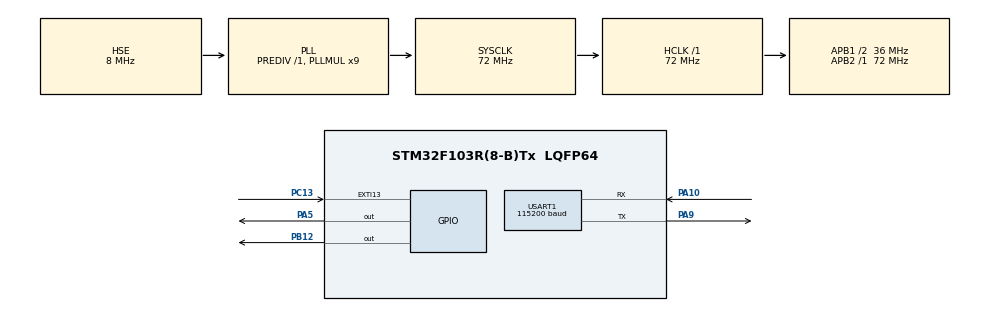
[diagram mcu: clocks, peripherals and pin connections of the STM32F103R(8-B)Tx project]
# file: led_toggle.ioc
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Dma.Request0=USART1_RX
Dma.USART1_RX.0.Direction=DMA_PERIPH_TO_MEMORY
Dma.USART1_RX.0.Instance=DMA1_Channel5
Dma.USART1_RX.0.MemDataAlignment=DMA_MDATAALIGN_BYTE
Dma.USART1_RX.0.MemInc=DMA_MINC_ENABLE
Dma.USART1_RX.0.Mode=DMA_CIRCULAR
Dma.USART1_RX.0.PeriphDataAlignment=DMA_PDATAALIGN_BYTE
Dma.USART1_RX.0.PeriphInc=DMA_PINC_DISABLE
Dma.USART1_RX.0.Priority=DMA_PRIORITY_LOW
FREERTOS.Mutexes01=mutex_counter,Dynamic,NULL
FREERTOS.Queues01=myQueue01,4,uint8_t,0,Dynamic,NULL,NULL
FREERTOS.Tasks01=led1,24,128,StartDefaultTask,Default,NULL,Dynamic,NULL,NULL;led2,24,128,StartTask02,Default,NULL,Dynamic,NULL,NULL
FREERTOS.configUSE_NEWLIB_REENTRANT=1
Mcu.Family=STM32F1
Mcu.Name=STM32F103R(8-B)Tx
Mcu.Package=LQFP64
NVIC.DMA1_Channel5_IRQn=true\:5\:0\:false\:false\:true\:true\:false\:true\:true
NVIC.EXTI15_10_IRQn=true\:5\:0\:false\:false\:true\:true\:true\:true\:true
NVIC.PriorityGroup=NVIC_PRIORITYGROUP_4
NVIC.TIM4_IRQn=true\:15\:0\:false\:false\:true\:false\:false\:true\:true
NVIC.TimeBase=TIM4_IRQn
NVIC.TimeBaseIP=TIM4
PA10.Mode=Asynchronous
PA10.Signal=USART1_RX
PA13.Mode=Serial_Wire
PA13.Signal=SYS_JTMS-SWDIO
PA14.Mode=Serial_Wire
PA14.Signal=SYS_JTCK-SWCLK
PA5.PinState=GPIO_PIN_SET
PA5.Signal=GPIO_Output
PA9.Mode=Asynchronous
PA9.Signal=USART1_TX
PB12.PinState=GPIO_PIN_SET
PB12.Signal=GPIO_Output
PC13-TAMPER-RTC.GPIO_ModeDefaultEXTI=GPIO_MODE_IT_FALLING
PC13-TAMPER-RTC.Signal=GPXTI13
PD0-OSC_IN.Mode=HSE-External-Oscillator
PD0-OSC_IN.Signal=RCC_OSC_IN
PD1-OSC_OUT.Mode=HSE-External-Oscillator
PD1-OSC_OUT.Signal=RCC_OSC_OUT
ProjectManager.HeapSize=0x200
ProjectManager.StackSize=0x400
ProjectManager.TargetToolchain=STM32CubeIDE
RCC.AHBFreq_Value=72000000
RCC.APB1CLKDivider=RCC_HCLK_DIV2
RCC.APB1Freq_Value=36000000
RCC.APB1TimFreq_Value=72000000
RCC.APB2Freq_Value=72000000
RCC.APB2TimFreq_Value=72000000
RCC.HCLKFreq_Value=72000000
RCC.PLLMUL=RCC_PLL_MUL9
RCC.PLLSourceVirtual=RCC_PLLSOURCE_HSE
RCC.SYSCLKFreq_VALUE=72000000
RCC.SYSCLKSource=RCC_SYSCLKSOURCE_PLLCLK
RCC.USBFreq_Value=72000000
USART1.BaudRate=115200
USART1.VirtualMode=VM_ASYNC
VP_FREERTOS_VS_CMSIS_V2.Mode=CMSIS_V2
VP_SYS_VS_tim4.Mode=TIM4
board=custom

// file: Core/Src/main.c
/* USER CODE BEGIN Header */
/**
  ******************************************************************************
  * @file           : main.c
  * @brief          : Main program body
  ******************************************************************************
  * @attention
  *
  * Copyright (c) 2024 STMicroelectronics.
  * All rights reserved.
  *
  * This software is licensed under terms that can be found in the LICENSE file
  * in the root directory of this software component.
  * If no LICENSE file comes with this software, it is provided AS-IS.
  *
  ******************************************************************************
  */
/* USER CODE END Header */
#include "main.h"
#include "cmsis_os.h"
#include "dma.h"
#include "usart.h"
#include "gpio.h"

/* USER CODE BEGIN PV */
bool uart_flag=false;
/* USER CODE END PV */

void SystemClock_Config(void);
void MX_FREERTOS_Init(void);

int main(void)
{

  /* MCU Configuration--------------------------------------------------------*/

  /* Reset of all peripherals, Initializes the Flash interface and the Systick. */
  HAL_Init();

  /* Configure the system clock */
  SystemClock_Config();

  /* Initialize all configured peripherals */
  MX_GPIO_Init();
  MX_DMA_Init();
  MX_USART1_UART_Init();

  /* Init scheduler */
  osKernelInitialize();

  /* Call init function for freertos objects (in freertos.c) */
  MX_FREERTOS_Init();

  /* Start scheduler */
  osKernelStart();

  /* We should never get here as control is now taken by the scheduler */
  /* Infinite loop */
  while (1)
  {

  }
}

void SystemClock_Config(void)
{
  RCC_OscInitTypeDef RCC_OscInitStruct = {0};
  RCC_ClkInitTypeDef RCC_ClkInitStruct = {0};

  /** Initializes the RCC Oscillators according to the specified parameters
  * in the RCC_OscInitTypeDef structure.
  */
  RCC_OscInitStruct.OscillatorType = RCC_OSCILLATORTYPE_HSE;
  RCC_OscInitStruct.HSEState = RCC_HSE_ON;
  RCC_OscInitStruct.HSEPredivValue = RCC_HSE_PREDIV_DIV1;
  RCC_OscInitStruct.HSIState = RCC_HSI_ON;
  RCC_OscInitStruct.PLL.PLLState = RCC_PLL_ON;
  RCC_OscInitStruct.PLL.PLLSource = RCC_PLLSOURCE_HSE;
  RCC_OscInitStruct.PLL.PLLMUL = RCC_PLL_MUL9;
  if (HAL_RCC_OscConfig(&RCC_OscInitStruct) != HAL_OK)
  {
    Error_Handler();
  }

  /** Initializes the CPU, AHB and APB buses clocks
  */
  RCC_ClkInitStruct.ClockType = RCC_CLOCKTYPE_HCLK|RCC_CLOCKTYPE_SYSCLK
                              |RCC_CLOCKTYPE_PCLK1|RCC_CLOCKTYPE_PCLK2;
  RCC_ClkInitStruct.SYSCLKSource = RCC_SYSCLKSOURCE_PLLCLK;
  RCC_ClkInitStruct.AHBCLKDivider = RCC_SYSCLK_DIV1;
  RCC_ClkInitStruct.APB1CLKDivider = RCC_HCLK_DIV2;
  RCC_ClkInitStruct.APB2CLKDivider = RCC_HCLK_DIV1;

  if (HAL_RCC_ClockConfig(&RCC_ClkInitStruct, FLASH_LATENCY_2) != HAL_OK)
  {
    Error_Handler();
  }
}

void HAL_TIM_PeriodElapsedCallback(TIM_HandleTypeDef *htim)
{
  if (htim->Instance == TIM4) {
    HAL_IncTick();
  }
}

void Error_Handler(void)
{
  __disable_irq();
  while (1)
  {
  }
}

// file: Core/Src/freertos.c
/* USER CODE BEGIN Header */
/**
  ******************************************************************************
  * File Name          : freertos.c
  * Description        : Code for freertos applications
  ******************************************************************************
  * @attention
  *
  * Copyright (c) 2024 STMicroelectronics.
  * All rights reserved.
  *
  * This software is licensed under terms that can be found in the LICENSE file
  * in the root directory of this software component.
  * If no LICENSE file comes with this software, it is provided AS-IS.
  *
  ******************************************************************************
  */
/* USER CODE END Header */

#include "FreeRTOS.h"
#include "task.h"
#include "main.h"
#include "cmsis_os.h"

/* USER CODE BEGIN Variables */
extern bool uart_flag;
extern UART_HandleTypeDef huart1;
bool send_queue=false;
uint16_t count=0;
bool begin=false;
/* USER CODE END Variables */
/* Definitions for led1 */
osThreadId_t led1Handle;
const osThreadAttr_t led1_attributes = {
  .name = "led1",
  .stack_size = 128 * 4,
  .priority = (osPriority_t) osPriorityNormal,
};
/* Definitions for led2 */
osThreadId_t led2Handle;
const osThreadAttr_t led2_attributes = {
  .name = "led2",
  .stack_size = 128 * 4,
  .priority = (osPriority_t) osPriorityNormal,
};
/* Definitions for myQueue01 */
osMessageQueueId_t myQueue01Handle;
const osMessageQueueAttr_t myQueue01_attributes = {
  .name = "myQueue01"
};
/* Definitions for mutex_counter */
osMutexId_t mutex_counterHandle;
const osMutexAttr_t mutex_counter_attributes = {
  .name = "mutex_counter"
};

/* USER CODE BEGIN FunctionPrototypes */
extern HAL_StatusTypeDef HAL_UART_Transmit(UART_HandleTypeDef *huart, const uint8_t *pData, uint16_t Size, uint32_t Timeout);

int __io_putchar(int ch){
	HAL_UART_Transmit(&huart1,(uint8_t *)&ch,1,100);
	return 0;
}

void HAL_UART_RxCpltCallback(UART_HandleTypeDef *huart)
{
	uart_flag=true;
	UNUSED(huart);
}

void HAL_GPIO_EXTI_Callback(uint16_t GPIO_Pin)
{
	if(GPIO_Pin==GPIO_PIN_13){
		begin=true;
	}
  UNUSED(GPIO_Pin);
}

void counter(uint8_t task_numb){
	printf("task%d counter begin\n",task_numb);
	for(uint8_t i=0;i<5;i++){
		printf("count:%d\n",++count);
		HAL_Delay(100);
	}
	count=0;
}
/* USER CODE END FunctionPrototypes */

void StartDefaultTask(void *argument);
void StartTask02(void *argument);

void MX_FREERTOS_Init(void); /* (MISRA C 2004 rule 8.1) */

void MX_FREERTOS_Init(void) {
  /* Create the mutex(es) */
  /* creation of mutex_counter */
  mutex_counterHandle = osMutexNew(&mutex_counter_attributes);

  /* Create the queue(s) */
  /* creation of myQueue01 */
  myQueue01Handle = osMessageQueueNew (4, sizeof(uint8_t), &myQueue01_attributes);

  /* Create the thread(s) */
  /* creation of led1 */
  led1Handle = osThreadNew(StartDefaultTask, NULL, &led1_attributes);

  /* creation of led2 */
  led2Handle = osThreadNew(StartTask02, NULL, &led2_attributes);

}

void StartDefaultTask(void *argument)
{
  /* USER CODE BEGIN StartDefaultTask */
	uint32_t pretime=HAL_GetTick();
	osStatus_t mutex_state=osOK;
  /* Infinite loop */
  for(;;)
  {
	if(HAL_GetTick()-pretime>100){
		HAL_GPIO_TogglePin(GPIOA, GPIO_PIN_5);
		pretime=HAL_GetTick();
	}
	mutex_state = osMutexAcquire(mutex_counterHandle,osWaitForever);
	if(mutex_state==osOK){
		if(begin){
			counter(1);
		}
		osMutexRelease(mutex_counterHandle);
	}
	osDelay(1);
  }
  /* USER CODE END StartDefaultTask */
}

void StartTask02(void *argument)
{
  /* USER CODE BEGIN StartTask02 */
  /* Infinite loop */
	uint32_t pretime=HAL_GetTick();
	osStatus_t mutex_state=osOK;
  for(;;)
  {
	  if(HAL_GetTick()-pretime>100){
	  	  HAL_GPIO_TogglePin(GPIOB, GPIO_PIN_12);
	  	  pretime=HAL_GetTick();
	  }
	  mutex_state = osMutexAcquire(mutex_counterHandle,osWaitForever);
	  if(mutex_state==osOK){
			if(begin){
				counter(2);
			}
		  osMutexRelease(mutex_counterHandle);
	  }
	  osDelay(1);
  }
  /* USER CODE END StartTask02 */
}
